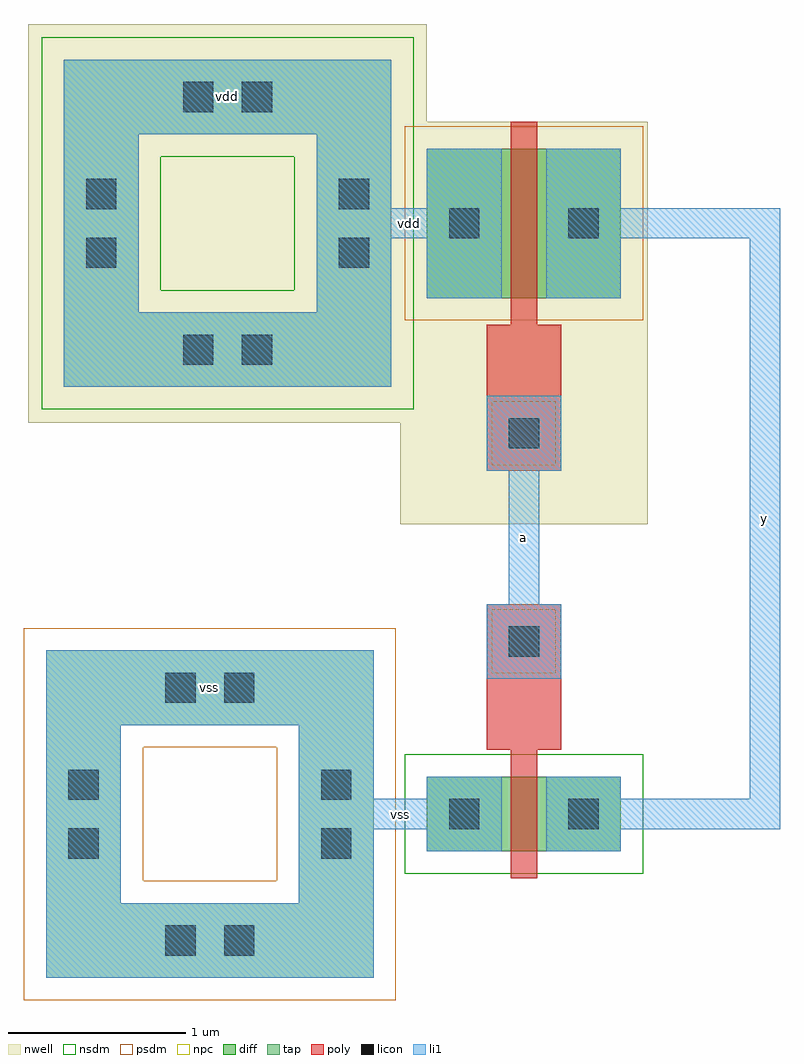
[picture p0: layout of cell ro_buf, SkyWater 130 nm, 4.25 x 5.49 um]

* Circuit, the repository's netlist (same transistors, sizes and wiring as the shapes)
* extracted by klt extract --deck sky130

* cell ro_buf
* pin a
* pin vdd
* pin vss
* pin y
.SUBCKT ro_buf a vdd vss y
* device instance $1 r0 *1 0.545,0.21 nfet
M$1 y a vss vss nfet L=0.15U W=0.42U AS=0.1974P AD=0.1974P PS=1.78U PD=1.78U
* device instance $2 r0 *1 0.545,3.53 pfet
M$2 y a vdd vdd pfet L=0.15U W=0.84U AS=0.3948P AD=0.3948P PS=2.62U PD=2.62U
.ENDS ro_buf

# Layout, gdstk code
import gdstk
lib = gdstk.Library(unit=1e-6, precision=1e-09)
def R(c, l, rs):  # rectangles x0, y0, x1, y1
    for r in rs: c.add(gdstk.rectangle(r[:2], r[2:], *l))
def P(c, l, *ps):  # polygons
    for p in ps: c.add(gdstk.Polygon(p, *l))
nwell = (64, 20)
diff = (65, 20)
tap = (65, 44)
poly = (66, 20)
licon = (66, 44)
li1 = (67, 20)
nsdm = (93, 44)
psdm = (94, 20)
npc = (95, 20)

guard_ring = lib.new_cell('guard_ring')
P(guard_ring, tap, [(0,0),(0,1.42),(0.42,1.42),(0.42,0.42),(1.42,0.42),(1.42,1.42),(0,1.42),(0,1.84),(1.84,1.84),(1.84,0)])
R(guard_ring, licon, [(0.67,0.125,0.84,0.295), (1,0.125,1.17,0.295), (0.125,0.67,0.295,0.84), (1.545,0.67,1.715,0.84), (0.125,1,0.295,1.17), (1.545,1,1.715,1.17), (0.67,1.545,0.84,1.715), (1,1.545,1.17,1.715)])
P(guard_ring, li1, [(0,0),(0,1.42),(0.42,1.42),(0.42,0.42),(1.42,0.42),(1.42,1.42),(0,1.42),(0,1.84),(1.84,1.84),(1.84,0)])
P(guard_ring, psdm, [(-0.125,-0.125),(-0.125,1.295),(0.545,1.295),(0.545,0.545),(1.295,0.545),(1.295,1.295),(-0.125,1.295),(-0.125,1.965),(1.965,1.965),(1.965,-0.125)])

psub_tap__psub_tap = lib.new_cell('psub_tap__psub_tap')
psub_tap__psub_tap.add(gdstk.Reference(guard_ring, (0,0)))

mos_array = lib.new_cell('mos_array')
R(mos_array, diff, [(0,0,1.09,0.42)])
R(mos_array, poly, [(0.47,-0.15,0.62,0.42), (0.47,0.42,0.62,0.57), (0.47,0.42,0.62,0.57), (0.335,0.57,0.755,1.39)])
R(mos_array, licon, [(0.125,0.125,0.295,0.295), (0.795,0.125,0.965,0.295), (0.46,1.095,0.63,1.265)])
R(mos_array, li1, [(0,0,0.42,0.42), (0.67,0,1.09,0.42), (0.335,0.97,0.755,1.39)])
R(mos_array, nsdm, [(-0.125,-0.125,1.215,0.545)])
R(mos_array, npc, [(0.365,1,0.725,1.36)])

mn__nfet_w0p42_l0p15 = lib.new_cell('mn__nfet_w0p42_l0p15')
mn__nfet_w0p42_l0p15.add(gdstk.Reference(mos_array, (0,0)))

guard_ring_1 = lib.new_cell('guard_ring$1')
R(guard_ring_1, nwell, [(-0.2,-0.2,2.04,2.04)])
P(guard_ring_1, tap, [(0,0),(0,1.42),(0.42,1.42),(0.42,0.42),(1.42,0.42),(1.42,1.42),(0,1.42),(0,1.84),(1.84,1.84),(1.84,0)])
R(guard_ring_1, licon, [(0.67,0.125,0.84,0.295), (1,0.125,1.17,0.295), (0.125,0.67,0.295,0.84), (1.545,0.67,1.715,0.84), (0.125,1,0.295,1.17), (1.545,1,1.715,1.17), (0.67,1.545,0.84,1.715), (1,1.545,1.17,1.715)])
P(guard_ring_1, li1, [(0,0),(0,1.42),(0.42,1.42),(0.42,0.42),(1.42,0.42),(1.42,1.42),(0,1.42),(0,1.84),(1.84,1.84),(1.84,0)])
P(guard_ring_1, nsdm, [(-0.125,-0.125),(-0.125,1.295),(0.545,1.295),(0.545,0.545),(1.295,0.545),(1.295,1.295),(-0.125,1.295),(-0.125,1.965),(1.965,1.965),(1.965,-0.125)])

nwell_tap__nwell_tap = lib.new_cell('nwell_tap__nwell_tap')
nwell_tap__nwell_tap.add(gdstk.Reference(guard_ring_1, (0,0)))

mos_array_1 = lib.new_cell('mos_array$1')
R(mos_array_1, nwell, [(-0.15,-0.15,1.24,2.11)])
R(mos_array_1, diff, [(0,0,1.09,0.84)])
R(mos_array_1, poly, [(0.47,-0.15,0.62,0.84), (0.47,0.84,0.62,0.99), (0.47,0.84,0.62,0.99), (0.335,0.99,0.755,1.81)])
R(mos_array_1, licon, [(0.125,0.335,0.295,0.505), (0.795,0.335,0.965,0.505), (0.46,1.515,0.63,1.685)])
R(mos_array_1, li1, [(0,0,0.42,0.84), (0.67,0,1.09,0.84), (0.335,1.39,0.755,1.81)])
R(mos_array_1, psdm, [(-0.125,-0.125,1.215,0.965)])
R(mos_array_1, npc, [(0.365,1.42,0.725,1.78)])

mp__pfet_w0p84_l0p15 = lib.new_cell('mp__pfet_w0p84_l0p15')
mp__pfet_w0p84_l0p15.add(gdstk.Reference(mos_array_1, (0,0)))

ro_buf = lib.new_cell('ro_buf')
R(ro_buf, li1, [(0.335,1.18,0.755,1.35), (0.335,2.18,0.755,2.35)])
ro_buf.add(gdstk.FlexPath([(0.545,2.35),(0.545,1.18)], 0.17, ends="flush", simple_path=True, layer=67, datatype=20))  # li1
ro_buf.add(gdstk.FlexPath([(0.88,3.53),(1.9,3.53),(1.9,0.21),(0.88,0.21)], 0.17, ends="flush", simple_path=True, layer=67, datatype=20))  # li1
ro_buf.add(gdstk.FlexPath([(0.21,3.53),(-0.41,3.53)], 0.17, ends="flush", simple_path=True, layer=67, datatype=20))  # li1
ro_buf.add(gdstk.FlexPath([(0.21,0.21),(-0.51,0.21)], 0.17, ends="flush", simple_path=True, layer=67, datatype=20))  # li1
ro_buf.add(gdstk.Reference(psub_tap__psub_tap, (-2.14,-0.71)))
ro_buf.add(gdstk.Reference(mn__nfet_w0p42_l0p15, (0,0)))
ro_buf.add(gdstk.Reference(nwell_tap__nwell_tap, (-2.04,2.61)))
ro_buf.add(gdstk.Reference(mp__pfet_w0p84_l0p15, (0,3.95), x_reflection=True))
ro_buf.add(gdstk.Label('a', (0.545,1.765), layer=67, texttype=5))
ro_buf.add(gdstk.Label('y', (1.9,1.87), layer=67, texttype=5))
ro_buf.add(gdstk.Label('vdd', (-0.1,3.53), layer=67, texttype=5))
ro_buf.add(gdstk.Label('vss', (-0.15,0.21), layer=67, texttype=5))
ro_buf.add(gdstk.Label('vdd', (-1.12,4.24), layer=67, texttype=5))
ro_buf.add(gdstk.Label('vss', (-1.22,0.92), layer=67, texttype=5))

lib.write_gds('ro_buf.gds')
